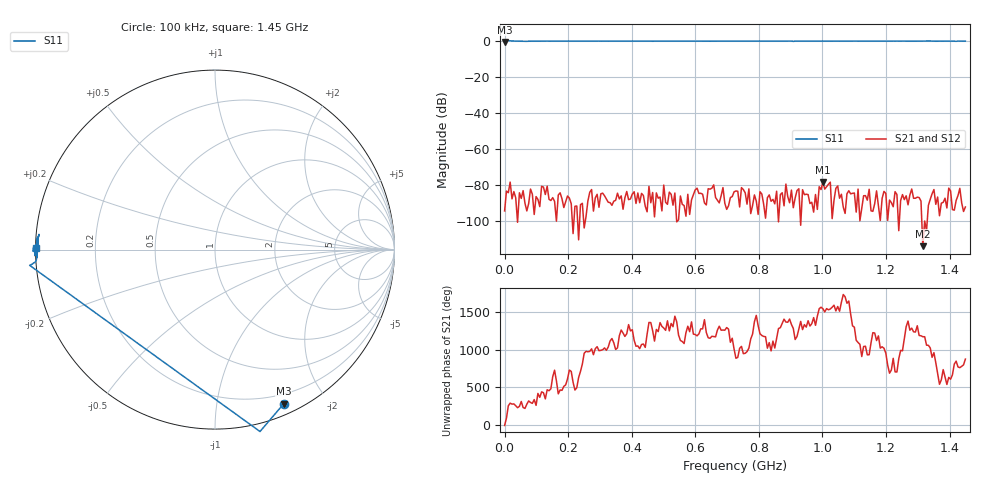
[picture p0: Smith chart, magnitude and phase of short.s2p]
! Created with skrf 1.11.0 (http://scikit-rf.org).
# Hz S RI R 50.0
!freq ReS11 ImS11 ReS21 ImS21 ReS12 ImS12 ReS22 ImS22
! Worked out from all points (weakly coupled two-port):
!   250 points, 100 kHz to 1.45 GHz, reference 50 ohm
!   highest |S21| = -78.26 dB at 1.002 GHz (marker M1); lowest = -114.0 dB at 1.316 GHz (marker M2)
!   lowest |S11| = -0.5 dB at 100 kHz (marker M3), VSWR 32.43, Z = 5.19 - j76.8 ohm
!   |S11| at or under -10 dB: nowhere
!   |S22| runs from - to - dB; largest |S21 - S12| = 0
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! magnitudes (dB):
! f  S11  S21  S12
! 100 kHz  -0.5  -94.4  -94.4
! 5.923 MHz  0.4  -83.3  -83.3
! 11.75 MHz  0.3  -84.3  -84.3
! 17.57 MHz  0.2  -78.4  -78.4
! 23.39 MHz  0.1  -87.7  -87.7
! 244.7 MHz  0.0  -90.2  -90.2
! 483.4 MHz  0.0  -87.3  -87.3
! 728 MHz  0.0  -83.3  -83.3
! 879.4 MHz  0.0  -91.6  -91.6
! 885.2 MHz  0.0  -79.5  -79.5
! 891 MHz  0.0  -86.4  -86.4
! 966.7 MHz  0.0  -89.6  -89.6
! 995.8 MHz  0.0  -82.5  -82.5
! 1.002 GHz  0.0  -78.3  -78.3
! 1.007 GHz  0.0  -82.3  -82.3
! 1.013 GHz  0.0  -80.9  -80.9
! 1.019 GHz  0.0  -79.6  -79.6
! 1.025 GHz  0.0  -78.4  -78.4
! 1.031 GHz  0.0  -98.7  -98.7
! 1.211 GHz  0.0  -88.3  -88.3
! 1.316 GHz  0.0  -114.0  -114.0
! 1.45 GHz  0.0  -92.2  -92.2
